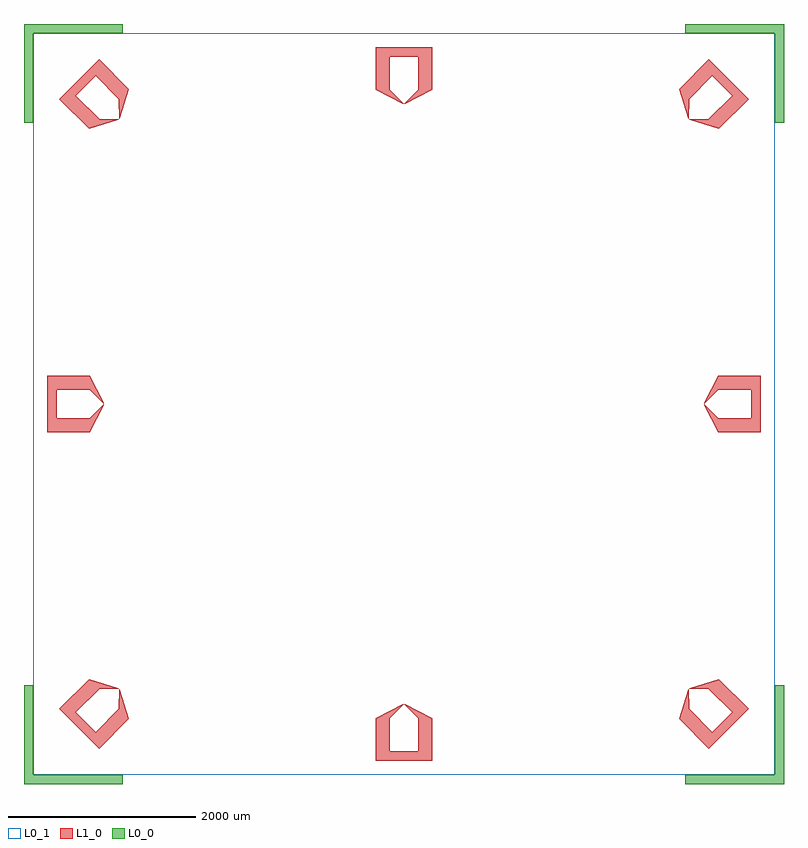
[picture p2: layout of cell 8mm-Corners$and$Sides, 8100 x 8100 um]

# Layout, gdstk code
from math import pi, radians
import gdstk
lib = gdstk.Library(unit=1e-6, precision=1e-09)
def R(c, l, rs):  # rectangles x0, y0, x1, y1
    for r in rs: c.add(gdstk.rectangle(r[:2], r[2:], *l))
def P(c, l, *ps):  # polygons
    for p in ps: c.add(gdstk.Polygon(p, *l))
L0_0 = (0, 0)
L0_1 = (0, 1)
L1_0 = (1, 0)

launcher = lib.new_cell('Launcher')
P(launcher, L1_0, [(-300,-300),(-300,150),(-11,300),(-5,300),(-150,150),(-150,-200),(150,-200),(150,150),(5,300),(11,300),(300,150),(300,-300)])

c_8mm_corners_and_sides = lib.new_cell('8mm-Corners$and$Sides')
P(c_8mm_corners_and_sides, L0_0, [(-4050,-4050),(-4050,-3000),(-3950,-3000),(-3950,-3950),(-3000,-3950),(-3000,-4050)],
  [(3000,-4050),(3000,-3950),(3950,-3950),(3950,-3000),(4050,-3000),(4050,-4050)],
  [(-4050,3000),(-4050,4050),(-3000,4050),(-3000,3950),(-3950,3950),(-3950,3000)],
  [(3950,3000),(3950,3950),(3000,3950),(3000,4050),(4050,4050),(4050,3000)])
R(c_8mm_corners_and_sides, L0_1, [(-3950,-3950,3950,3950)])
c_8mm_corners_and_sides.add(gdstk.Reference(launcher, (3500,0), rotation=pi/2))
c_8mm_corners_and_sides.add(gdstk.Reference(launcher, (0,3500), rotation=pi))
c_8mm_corners_and_sides.add(gdstk.Reference(launcher, (-3500,0), rotation=3*pi/2))
c_8mm_corners_and_sides.add(gdstk.Reference(launcher, (0,-3500)))
c_8mm_corners_and_sides.add(gdstk.Reference(launcher, (3250,-3250), rotation=radians(45)))
c_8mm_corners_and_sides.add(gdstk.Reference(launcher, (3250,3250), rotation=radians(135)))
c_8mm_corners_and_sides.add(gdstk.Reference(launcher, (-3250,3250), rotation=radians(225)))
c_8mm_corners_and_sides.add(gdstk.Reference(launcher, (-3250,-3250), rotation=radians(315)))

lib.write_gds('8mm-Corners_and_Sides.gds')
